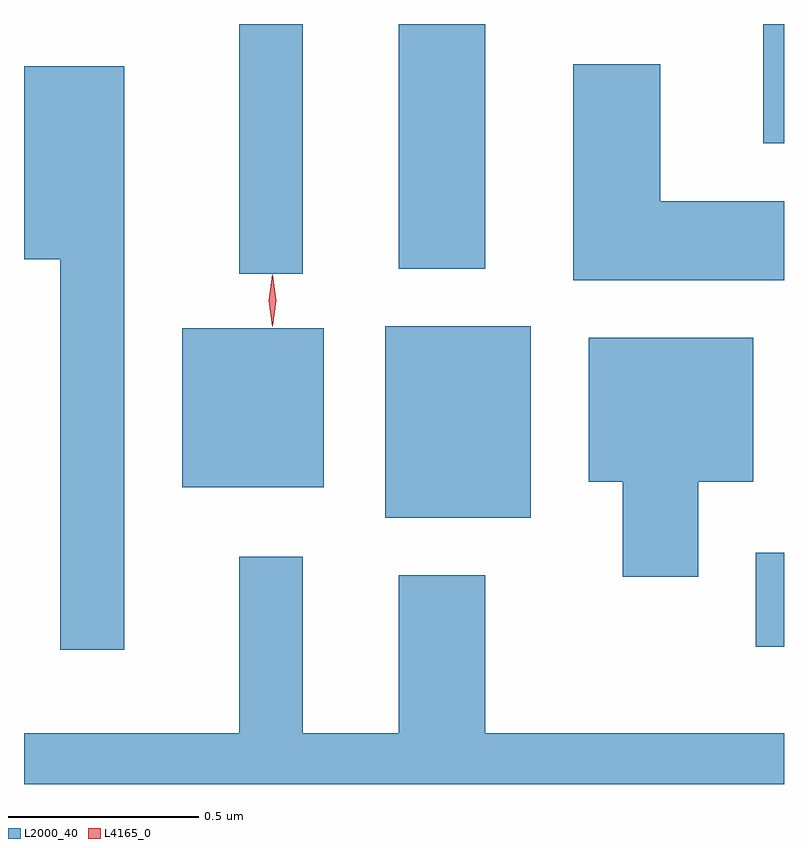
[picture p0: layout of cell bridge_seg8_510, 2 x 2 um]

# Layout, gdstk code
import gdstk
lib = gdstk.Library(unit=1e-6, precision=1e-09)
def R(c, l, rs):  # rectangles x0, y0, x1, y1
    for r in rs: c.add(gdstk.rectangle(r[:2], r[2:], *l))
def P(c, l, *ps):  # polygons
    for p in ps: c.add(gdstk.Polygon(p, *l))
L2000_40 = (2000, 40)
L4165_0 = (4165, 0)

bridge_seg8_510 = lib.new_cell('bridge_seg8_510')
R(bridge_seg8_510, L2000_40, [(382.021,1894.631,382.095,1894.879), (381.046,1894.971,381.429,1895.474), (380.511,1895.051,380.884,1895.469), (380.661,1895.613,380.829,1896.27), (381.081,1895.626,381.309,1896.27), (382.041,1895.956,382.095,1896.27)])
P(bridge_seg8_510, L2000_40, [(382.095,1895.804),(381.769,1895.804),(381.769,1896.164),(381.541,1896.164),(381.541,1895.596),(382.095,1895.596)],
  [(380.359,1896.159),(380.095,1896.159),(380.095,1895.651),(380.191,1895.651),(380.191,1894.623),(380.359,1894.623)],
  [(381.869,1895.066),(382.014,1895.066),(382.014,1895.444),(381.581,1895.444),(381.581,1895.066),(381.671,1895.066),(381.671,1894.816),(381.869,1894.816)],
  [(382.095,1894.404),(381.309,1894.404),(381.309,1894.819),(381.081,1894.819),(381.081,1894.404),(380.829,1894.404),(380.829,1894.868),(380.661,1894.868),(380.661,1894.404),(380.095,1894.404),(380.095,1894.27),(382.095,1894.27)])
P(bridge_seg8_510, L4165_0, [(380.748,1895.474),(380.739,1895.542),(380.748,1895.61),(380.749,1895.61),(380.749,1895.61),(380.759,1895.542),(380.749,1895.474),(380.749,1895.474)],
  [(380.75,1895.478),(380.749,1895.479),(380.74,1895.543),(380.748,1895.607),(380.749,1895.607),(380.749,1895.607),(380.759,1895.543),(380.75,1895.479)])

lib.write_gds('bridge_seg8_510.gds')
